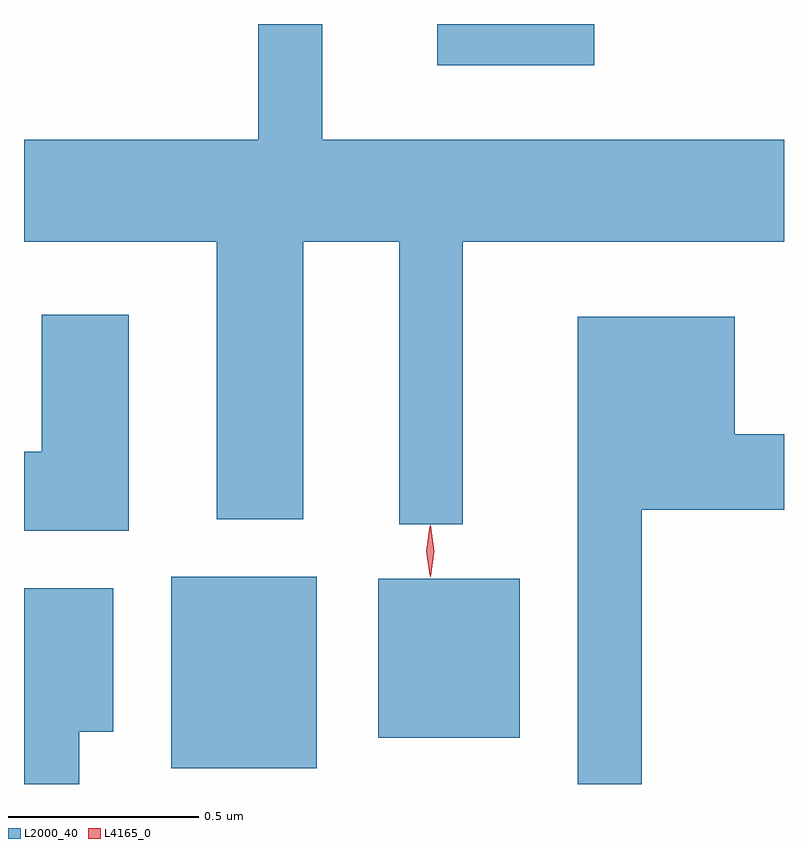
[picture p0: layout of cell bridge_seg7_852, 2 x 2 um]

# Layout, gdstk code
import gdstk
lib = gdstk.Library(unit=1e-6, precision=1e-09)
def R(c, l, rs):  # rectangles x0, y0, x1, y1
    for r in rs: c.add(gdstk.rectangle(r[:2], r[2:], *l))
def P(c, l, *ps):  # polygons
    for p in ps: c.add(gdstk.Polygon(p, *l))
L2000_40 = (2000, 40)
L4165_0 = (4165, 0)

bridge_seg7_852 = lib.new_cell('bridge_seg7_852')
R(bridge_seg7_852, L2000_40, [(248.421,1739.571,248.804,1740.074), (248.966,1739.651,249.339,1740.069), (249.121,1741.421,249.534,1741.529)])
P(bridge_seg7_852, L2000_40, [(249.189,1740.956),(250.034,1740.956),(250.034,1741.224),(248.819,1741.224),(248.819,1741.529),(248.651,1741.529),(248.651,1741.224),(248.034,1741.224),(248.034,1740.956),(248.541,1740.956),(248.541,1740.226),(248.769,1740.226),(248.769,1740.956),(249.021,1740.956),(249.021,1740.213),(249.189,1740.213)],
  [(248.309,1740.764),(248.081,1740.764),(248.081,1740.404),(248.034,1740.404),(248.034,1740.196),(248.309,1740.196)],
  [(249.659,1740.251),(250.034,1740.251),(250.034,1740.449),(249.904,1740.449),(249.904,1740.759),(249.491,1740.759),(249.491,1739.529),(249.659,1739.529)],
  [(248.179,1739.666),(248.269,1739.666),(248.269,1740.044),(248.034,1740.044),(248.034,1739.529),(248.179,1739.529)])
P(bridge_seg7_852, L4165_0, [(249.103,1740.074),(249.094,1740.142),(249.103,1740.21),(249.104,1740.21),(249.104,1740.21),(249.114,1740.142),(249.104,1740.074),(249.104,1740.074)],
  [(249.102,1740.078),(249.102,1740.078),(249.092,1740.142),(249.102,1740.207),(249.102,1740.207),(249.103,1740.207),(249.112,1740.142),(249.103,1740.078)])

lib.write_gds('bridge_seg7_852.gds')
